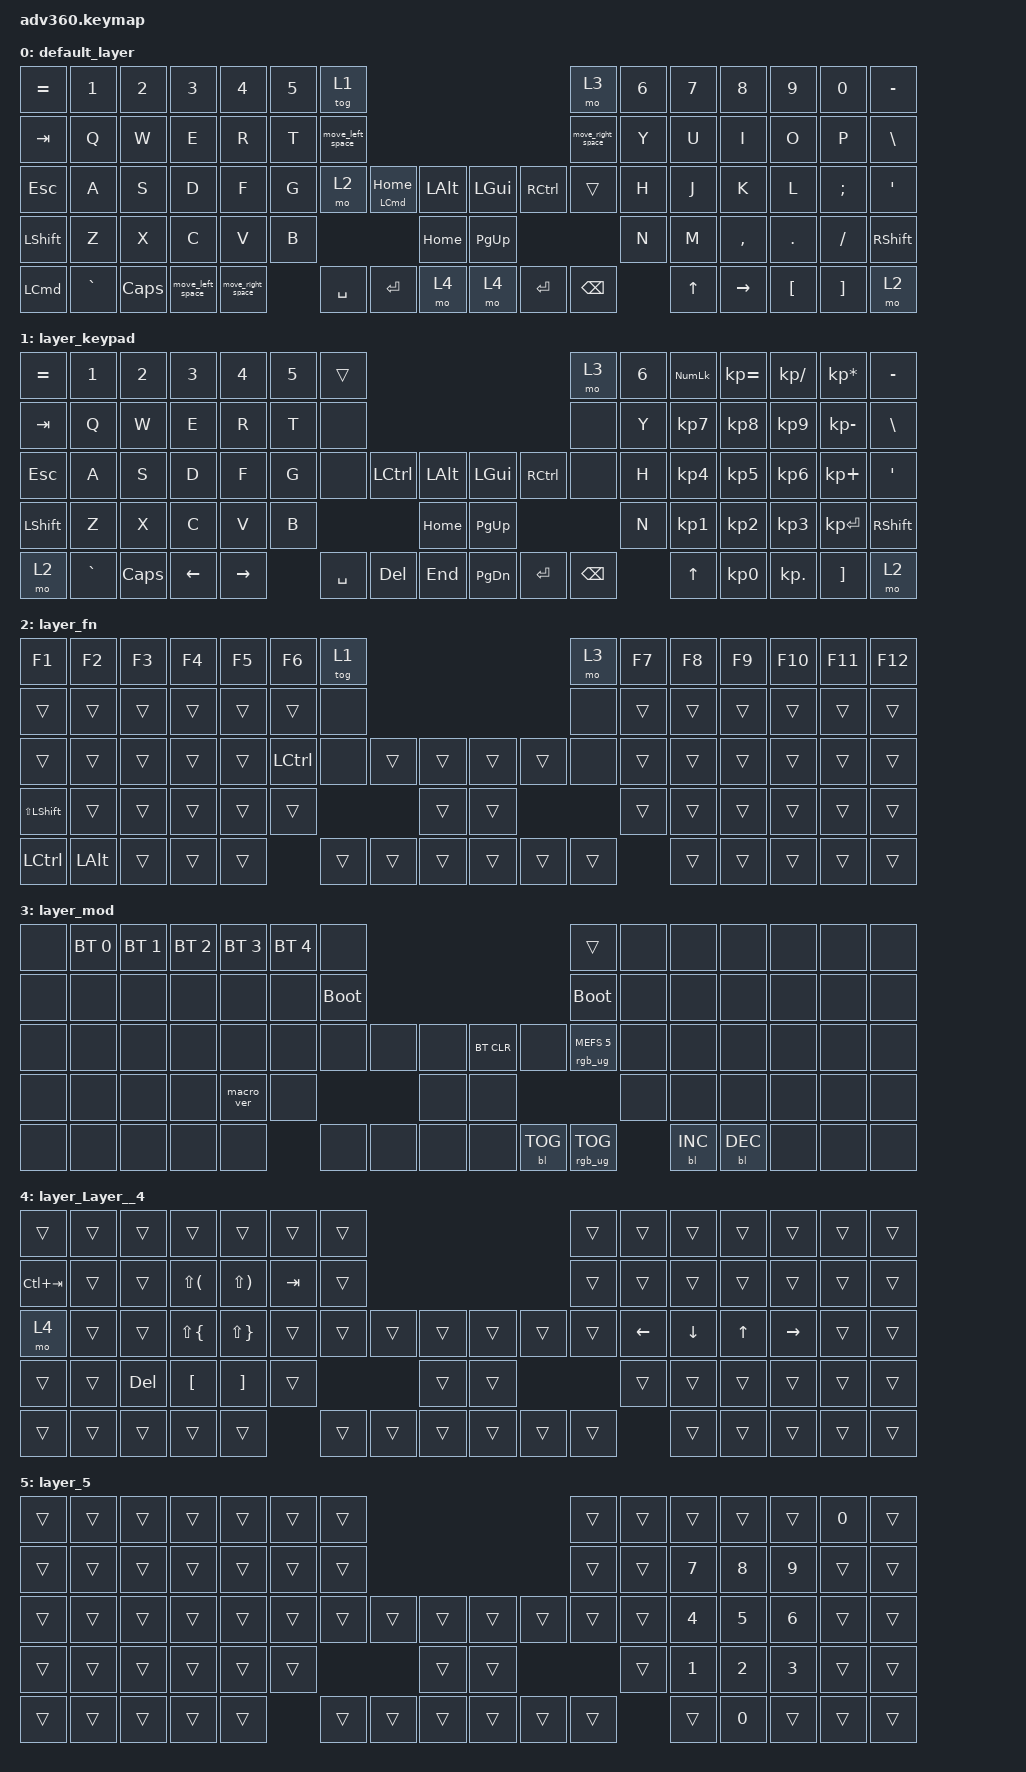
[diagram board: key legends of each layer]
/*
 * Copyright (c) 2020 The ZMK Contributors
 *
 * SPDX-License-Identifier: MIT
 */
/* THIS FILE WAS GENERATED!
 *
 * This file was generated automatically. You may or may not want to
 * edit it directly.
 */

#include <behaviors.dtsi>
#include <dt-bindings/zmk/backlight.h>
#include <dt-bindings/zmk/bt.h>
#include <dt-bindings/zmk/keys.h>
#include <dt-bindings/zmk/rgb.h>

/ {
    behaviors {
        #include "macros.dtsi"
    #include "version.dtsi"

        hm: homerow_mods {
            compatible = "zmk,behavior-hold-tap";
            label = "HOMEROW_MODS";
            #binding-cells = <2>;
            tapping-term-ms = <200>;
            quick_tap_ms = <175>;
            flavor = "tap-preferred";
            bindings = <&kp>, <&kp>;
        };
    };

    combos {
        compatible = "zmk,combos";

        tmux_split_v {
            bindings = <&none>;
            key-positions = <38 65>;
            layers = <0>;
        };

        afred_shortcut {
            bindings = <&kp LA(SPACE)>;
            key-positions = <70 65>;
            layers = <0>;
        };

        df_keys_to_numbers_toggle {
            bindings = <&kp RC(SPACE)>;
            key-positions = <32 31>;
        };

        control_l {
            bindings = <&kp LC(L)>;
            key-positions = <66 43>;
        };
    };

    macros {
        move_left_space: move_left_space {
            compatible = "zmk,behavior-macro";
            #binding-cells = <0>;
            bindings =
                <&macro_press>,
                <&kp RC(LEFT_COMMAND)>,
                <&macro_tap>,
                <&kp H>,
                <&macro_release>,
                <&kp RC(LEFT_COMMAND)>;

            label = "MOVE_LEFT_SPACE";
        };

        move_right_space: move_right_space {
            compatible = "zmk,behavior-macro";
            #binding-cells = <0>;
            bindings =
                <&macro_press>,
                <&kp RC(LEFT_COMMAND)>,
                <&macro_tap>,
                <&kp L>,
                <&macro_release>,
                <&kp RC(LEFT_COMMAND)>;

            label = "MOVE_RIGHT_SPACE";
        };

        command_tab: command_tab {
            compatible = "zmk,behavior-macro";
            #binding-cells = <0>;
            bindings =
                <&macro_press>,
                <&kp LEFT_COMMAND>,
                <&macro_tap>,
                <&kp TAB>,
                <&macro_pause_for_release>,
                <&kp LEFT_COMMAND>;

            label = "COMMAND_TAB";
        };
    };

    keymap {
        compatible = "zmk,keymap";

        default_layer {
            bindings = <
&kp EQUAL         &kp N1     &kp N2    &kp N3            &kp N4             &kp N5  &tog 1                                                                       &mo 3              &kp N6  &kp N7  &kp N8     &kp N9    &kp N0    &kp MINUS
&kp TAB           &kp Q      &kp W     &kp E             &kp R              &kp T   &move_left_space                                                             &move_right_space  &kp Y   &kp U   &kp I      &kp O     &kp P     &kp BSLH
&kp ESC           &kp A      &kp S     &kp D             &kp F              &kp G   &mo 2             &hm LEFT_COMMAND HOME  &kp LALT      &kp LGUI   &kp RCTRL  &trans             &kp H   &kp J   &kp K      &kp L     &kp SEMI  &kp SQT
&kp LSHFT         &kp Z      &kp X     &kp C             &kp V              &kp B                                            &kp HOME      &kp PG_UP                                &kp N   &kp M   &kp COMMA  &kp DOT   &kp FSLH  &kp RSHFT
&kp LEFT_COMMAND  &kp GRAVE  &kp CAPS  &move_left_space  &move_right_space          &kp SPACE         &kp ENTER              &mo 4         &mo 4      &kp ENTER  &kp BACKSPACE              &kp UP  &kp RIGHT  &kp LBKT  &kp RBKT  &mo 2
            >;
        };

        layer_keypad {
            bindings = <
&kp EQUAL  &kp N1     &kp N2    &kp N3    &kp N4     &kp N5  &trans                                                    &mo 3          &kp N6  &kp KP_NUM  &kp KP_EQUAL     &kp KP_DIVIDE  &kp KP_MULTIPLY  &kp MINUS
&kp TAB    &kp Q      &kp W     &kp E     &kp R      &kp T   &none                                                     &none          &kp Y   &kp KP_N7   &kp KP_N8        &kp KP_N9      &kp KP_MINUS     &kp BSLH
&kp ESC    &kp A      &kp S     &kp D     &kp F      &kp G   &none      &kp LCTRL  &kp LALT      &kp LGUI   &kp RCTRL  &none          &kp H   &kp KP_N4   &kp KP_N5        &kp KP_N6      &kp KP_PLUS      &kp SQT
&kp LSHFT  &kp Z      &kp X     &kp C     &kp V      &kp B                         &kp HOME      &kp PG_UP                            &kp N   &kp KP_N1   &kp KP_N2        &kp KP_N3      &kp KP_ENTER     &kp RSHFT
&mo 2      &kp GRAVE  &kp CAPS  &kp LEFT  &kp RIGHT          &kp SPACE  &kp DEL    &kp END       &kp PG_DN  &kp ENTER  &kp BACKSPACE          &kp UP      &kp KP_NUMBER_0  &kp KP_DOT     &kp RBKT         &mo 2
            >;
        };

        layer_fn {
            bindings = <
&kp F1              &kp F2        &kp F3  &kp F4  &kp F5  &kp F6            &tog 1                                      &mo 3   &kp F7  &kp F8  &kp F9  &kp F10  &kp F11  &kp F12
&trans              &trans        &trans  &trans  &trans  &trans            &none                                       &none   &trans  &trans  &trans  &trans   &trans   &trans
&trans              &trans        &trans  &trans  &trans  &kp LEFT_CONTROL  &none   &trans  &trans      &trans  &trans  &none   &trans  &trans  &trans  &trans   &trans   &trans
&kp LS(LEFT_SHIFT)  &trans        &trans  &trans  &trans  &trans                            &trans      &trans                  &trans  &trans  &trans  &trans   &trans   &trans
&kp LEFT_CONTROL    &kp LEFT_ALT  &trans  &trans  &trans                    &trans  &trans  &trans      &trans  &trans  &trans          &trans  &trans  &trans   &trans   &trans
            >;
        };

        layer_mod {
            bindings = <
&none  &bt BT_SEL 0  &bt BT_SEL 1  &bt BT_SEL 2  &bt BT_SEL 3  &bt BT_SEL 4  &none                                                  &trans                  &none  &none       &none       &none  &none  &none
&none  &none         &none         &none         &none         &none         &bootloader                                            &bootloader             &none  &none       &none       &none  &none  &none
&none  &none         &none         &none         &none         &none         &none        &none  &none      &bt BT_CLR  &none       &rgb_ug RGB_MEFS_CMD 5  &none  &none       &none       &none  &none  &none
&none  &none         &none         &none         &macro_ver    &none                             &none      &none                                           &none  &none       &none       &none  &none  &none
&none  &none         &none         &none         &none                       &none        &none  &none      &none       &bl BL_TOG  &rgb_ug RGB_TOG                &bl BL_INC  &bl BL_DEC  &none  &none  &none
            >;
        };

        layer_Layer__4 {
            bindings = <
&trans       &trans  &trans      &trans            &trans             &trans   &trans                                      &trans  &trans    &trans    &trans        &trans     &trans  &trans
&kp LC(TAB)  &trans  &trans      &kp LS(LPAR)      &kp LS(RPAR)       &kp TAB  &trans                                      &trans  &trans    &trans    &trans        &trans     &trans  &trans
&mo 4        &trans  &trans      &kp LS(LBRC)      &kp LS(RBRC)       &trans   &trans  &trans  &trans      &trans  &trans  &trans  &kp LEFT  &kp DOWN  &kp UP_ARROW  &kp RIGHT  &trans  &trans
&trans       &trans  &kp DELETE  &kp LEFT_BRACKET  &kp RIGHT_BRACKET  &trans                   &trans      &trans                  &trans    &trans    &trans        &trans     &trans  &trans
&trans       &trans  &trans      &trans            &trans                      &trans  &trans  &trans      &trans  &trans  &trans            &trans    &trans        &trans     &trans  &trans
            >;
        };

        layer_5 {
            bindings = <
&trans  &trans  &trans  &trans  &trans  &trans  &trans                                      &trans  &trans  &trans        &trans        &trans        &kp N0  &trans
&trans  &trans  &trans  &trans  &trans  &trans  &trans                                      &trans  &trans  &kp N7        &kp N8        &kp N9        &trans  &trans
&trans  &trans  &trans  &trans  &trans  &trans  &trans  &trans  &trans      &trans  &trans  &trans  &trans  &kp NUMBER_4  &kp N5        &kp NUMBER_6  &trans  &trans
&trans  &trans  &trans  &trans  &trans  &trans                  &trans      &trans                  &trans  &kp NUMBER_1  &kp NUMBER_2  &kp NUMBER_3  &trans  &trans
&trans  &trans  &trans  &trans  &trans          &trans  &trans  &trans      &trans  &trans  &trans          &trans        &kp N0        &trans        &trans  &trans
            >;
        };
    };
};
